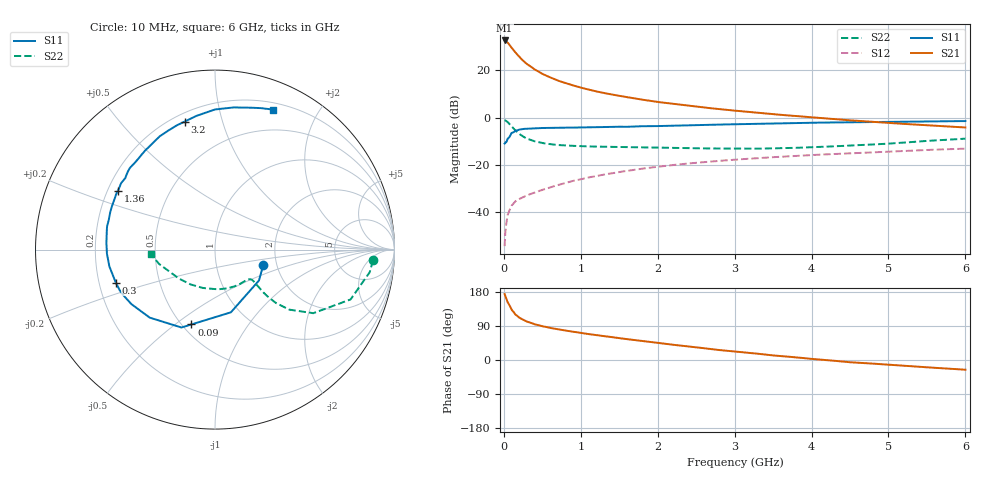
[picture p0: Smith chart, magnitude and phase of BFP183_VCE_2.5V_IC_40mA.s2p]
! Infineon Technologies  Discrete & RF Semiconductors
! BFP183
! VCE = 2.5 V,  IC =  40 mA
! Common Emitter S-Parameters:  Jan 2016
# GHz  S  MA  R  50
!  f  S11  S21  S12  S22
! GHz  MAG  ANG  MAG  ANG  MAG  ANG  MAG  ANG
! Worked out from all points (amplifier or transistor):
!   210 points, 10 MHz to 6 GHz, reference 50 ohm
!   highest |S21| = 32.7 dB at 10 MHz (marker M1)
!   |S21| within 3 dB of that: start of sweep to 100.2 MHz
!   unconditionally stable (mu >= 1): start of sweep to 13.41 MHz; 387.8 MHz to end of sweep
!   at 185 MHz: K = 0.65, MSG = 30.5 dB, |S12| = -34.8 dB
!   at 1.52 GHz: K = 1.33, MAG = 12.6 dB, |S12| = -22.9 dB
!   at 6 GHz: K = 1.04, MAG = 3.3 dB, |S12| = -13.1 dB
!   S11 on the Smith chart (normalised r, x): 10 MHz: 1.69, -0.32; 90 MHz: 0.56, -0.57; 300 MHz: 0.27, -0.15; 1.36 GHz: 0.24, +0.26; 3.2 GHz: 0.25, +0.76; 6 GHz: 0.27, +1.47
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0.01  0.2825 -18.2  42.94 174.1  0.0019 72.3  0.8827 -3.9
0.02  0.2994 -35.1  42.61 168.5  0.0038 78.1  0.8707 -8.4
0.05  0.3605 -75.8  38.94 152.3  0.0087 70.1  0.8046 -20.2
0.09  0.4375 -107.5  31.78 137.4  0.0126 58.5  0.6797 -29.9
0.1  0.4726 -113.3  30.42 132.7  0.0136 56.6  0.6523 -32.9
0.15  0.5253 -133.8  23.95 120.1  0.0169 51.7  0.533 -38.9
0.2  0.5561 -146.9  19.33 111.7  0.0189 49.9  0.4522 -41.2
0.26  0.5768 -156.6  15.53 104.8  0.021 50.5  0.3898 -41.7
0.3  0.5824 -161.6  13.62 101.3  0.0226 51.0  0.3592 -41.5
0.4  0.5959 -170.9  10.48 94.3  0.0259 53.7  0.3148 -40.4
0.5  0.6025 -177.8  8.427 89.1  0.0295 55.0  0.2894 -39.7
0.6  0.6061 176.6  7.119 84.8  0.0334 56.9  0.2738 -39.3
0.7  0.6097 172.1  6.082 81.1  0.0373 59.2  0.2633 -39.4
0.8  0.6151 167.9  5.375 77.6  0.0412 59.4  0.2574 -39.9
1.02  0.6206 159.5  4.223 70.9  0.0503 59.9  0.2481 -42.2
1.36  0.6329 148.8  3.178 61.6  0.0646 59.3  0.2407 -47.6
2.02  0.6627 130.0  2.124 44.7  0.0918 54.2  0.2319 -62.0
3.1  0.7281 105.3  1.357 20.5  0.1319 44.1  0.2191 -94.3
3.2  0.7329 103.4  1.31 18.6  0.1352 43.1  0.2192 -97.7
4.1  0.7832 88.5  0.986 1.3  0.1642 34.5  0.2393 -128.3
5.1  0.8145 76.1  0.752 -13.7  0.1929 26.0  0.2882 -156.6
6  0.8448 67.4  0.618 -25.7  0.2203 17.0  0.3586 -175.9
